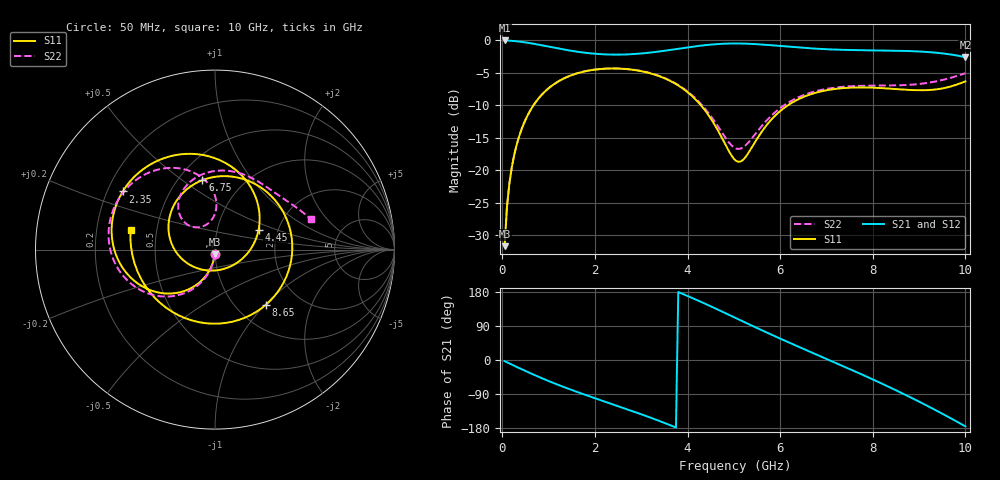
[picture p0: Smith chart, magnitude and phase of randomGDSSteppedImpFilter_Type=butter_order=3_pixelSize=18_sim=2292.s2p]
! freq	dB(S11)	phase(S11)	dB(S12)	phase(S12)
!  dB(S21)	phase(S21)	dB(S22)	phase(S22)
!S-par simulation data
#  GHz  S  DB  R 50
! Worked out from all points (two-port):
!   200 points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, 50 MHz to 10 GHz, reference 50 ohm
!   highest |S21| = 0.00 dB at 50 MHz (marker M1); lowest = -2.6 dB at 10 GHz (marker M2)
!   |S21| within 3 dB of the highest: start of sweep to end of sweep
!   lowest |S11| = -31.7 dB at 50 MHz (marker M3), VSWR 1.05, Z = 49.8 - j2.58 ohm
!   |S11| at or under -10 dB: start of sweep to 674.7 MHz; 4.288 GHz to 6.167 GHz (1.879 GHz wide, 35.9 % of centre)
!   |S22| runs from -31.7 to -4.3 dB; largest |S21 - S12| = 0
!   S11 on the Smith chart (normalised r, x): 50 MHz: 1.00, -0.05; 2.35 GHz: 0.26, +0.27; 4.45 GHz: 1.59, +0.37; 6.75 GHz: 0.65, +0.60; 8.65 GHz: 1.35, -1.01; 10 GHz: 0.35, +0.10
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0.05  -31.73 -93.1  -0.00 -3.0  -0.00 -3.0  -31.73 -92.9
0.1  -25.73 -96.4  -0.02 -5.9  -0.02 -5.9  -25.73 -95.9
0.2  -19.79 -102.7  -0.06 -11.8  -0.06 -11.8  -19.79 -101.8
0.5  -12.25 -120.6  -0.31 -29.0  -0.31 -29.0  -12.25 -118.5
1.05  -7.09 -150.9  -1.02 -58.0  -1.02 -58.0  -7.09 -146.2
1.75  -4.82 175.1  -1.87 -90.2  -1.87 -90.2  -4.81 -176.4
2.35  -4.33 147.7  -2.18 -115.5  -2.18 -115.5  -4.32 160.4
3.4  -5.54 96.3  -1.69 -161.2  -1.69 -161.2  -5.50 121.4
3.95  -7.69 63.2  -1.13 171.6  -1.13 171.6  -7.59 101.6
4.45  -11.50 24.2  -0.68 144.6  -0.68 144.6  -11.16 88.8
5.05  -18.57 -67.2  -0.47 110.2  -0.47 110.2  -16.68 110.0
5.75  -12.69 177.3  -0.71 70.3  -0.71 70.3  -12.03 137.4
6.2  -9.84 139.7  -0.98 45.6  -0.98 45.6  -9.48 127.2
6.7  -8.21 103.7  -1.24 18.9  -1.24 18.9  -7.97 111.0
6.75  -8.11 100.2  -1.26 16.3  -1.26 16.3  -7.87 109.3
7.5  -7.29 46.9  -1.48 -23.7  -1.48 -23.7  -7.07 84.3
7.95  -7.27 12.6  -1.53 -48.4  -1.53 -48.4  -6.98 70.3
8.35  -7.42 -20.6  -1.56 -71.1  -1.56 -71.1  -6.96 59.0
8.65  -7.57 -47.6  -1.61 -88.7  -1.61 -88.7  -6.90 51.2
9.3  -7.60 -113.5  -1.85 -128.7  -1.85 -128.7  -6.41 35.7
9.7  -7.07 -158.7  -2.18 -154.8  -2.18 -154.8  -5.73 26.0
10  -6.31 166.6  -2.59 -175.2  -2.59 -175.2  -5.05 17.7
